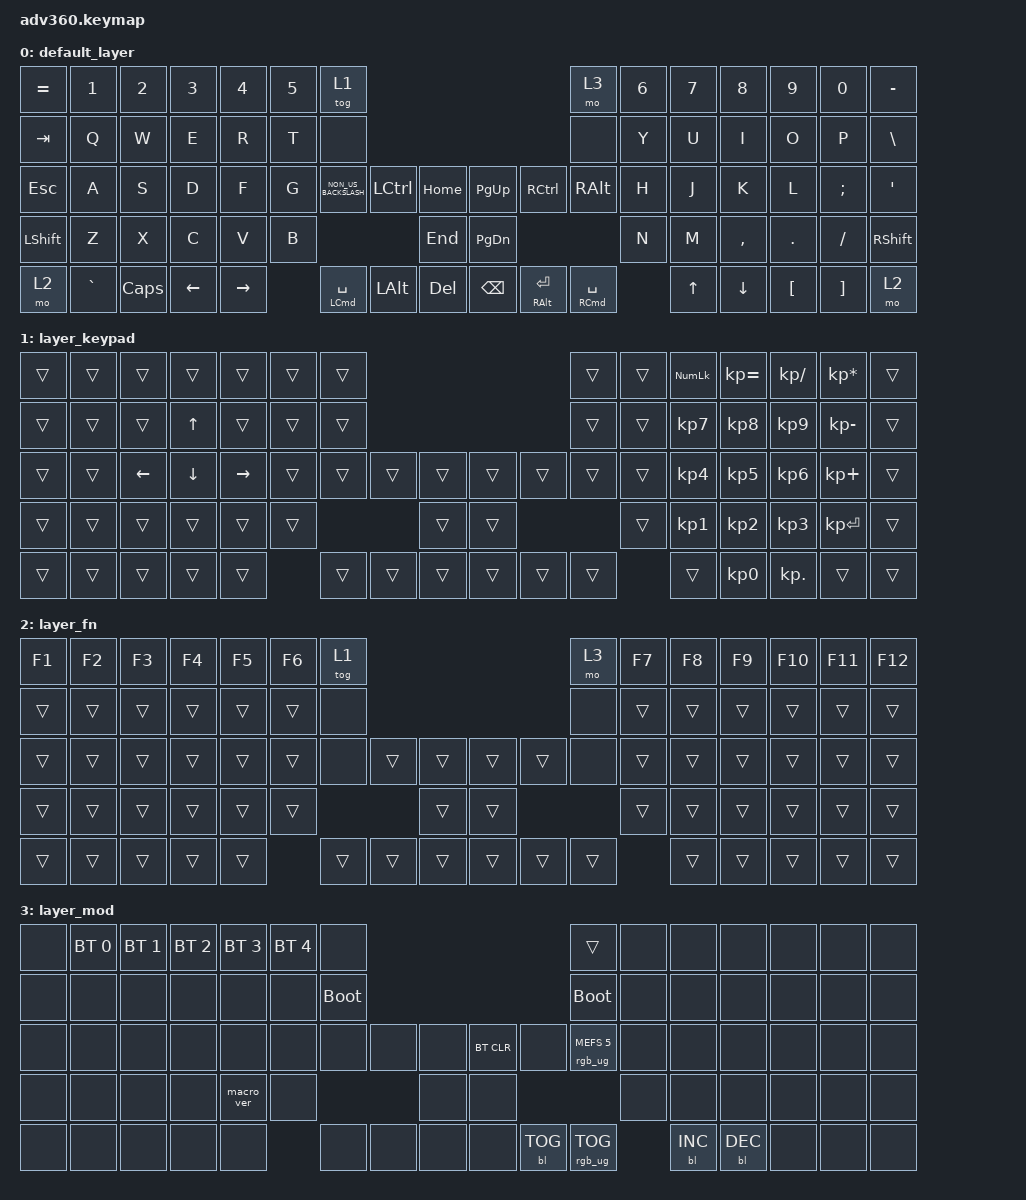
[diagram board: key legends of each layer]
/*
 * Copyright (c) 2020 The ZMK Contributors
 *
 * SPDX-License-Identifier: MIT
 */
/* THIS FILE WAS GENERATED!
 *
 * This file was generated automatically. You may or may not want to
 * edit it directly.
 */

#include <behaviors.dtsi>
#include <dt-bindings/zmk/backlight.h>
#include <dt-bindings/zmk/bt.h>
#include <dt-bindings/zmk/keys.h>
#include <dt-bindings/zmk/rgb.h>

/ {
    behaviors {
        #include "macros.dtsi"
    #include "version.dtsi"
    };

    keymap {
        compatible = "zmk,keymap";

        default_layer {
            bindings = <
&kp EQUAL  &kp N1     &kp N2    &kp N3    &kp N4     &kp N5  &tog 1                                                                                     &mo 3                    &kp N6  &kp N7  &kp N8     &kp N9    &kp N0    &kp MINUS
&kp TAB    &kp Q      &kp W     &kp E     &kp R      &kp T   &none                                                                                      &none                    &kp Y   &kp U   &kp I      &kp O     &kp P     &kp BSLH
&kp ESC    &kp A      &kp S     &kp D     &kp F      &kp G   &kp NON_US_BACKSLASH    &kp LCTRL     &kp HOME        &kp PG_UP      &kp RCTRL             &kp RIGHT_ALT            &kp H   &kp J   &kp K      &kp L     &kp SEMI  &kp SQT
&kp LSHFT  &kp Z      &kp X     &kp C     &kp V      &kp B                                         &kp END         &kp PAGE_DOWN                                                 &kp N   &kp M   &kp COMMA  &kp DOT   &kp FSLH  &kp RSHFT
&mo 2      &kp GRAVE  &kp CAPS  &kp LEFT  &kp RIGHT          &mt LEFT_COMMAND SPACE  &kp LEFT_ALT  &kp DELETE      &kp BACKSPACE  &mt RIGHT_ALT RETURN  &mt RIGHT_COMMAND SPACE          &kp UP  &kp DOWN   &kp LBKT  &kp RBKT  &mo 2
            >;
        };

        layer_keypad {
            bindings = <
&trans  &trans  &trans    &trans    &trans     &trans  &trans                                          &trans  &trans  &kp KP_NUM  &kp KP_EQUAL  &kp KP_DIVIDE  &kp KP_MULTIPLY  &trans
&trans  &trans  &trans    &kp UP    &trans     &trans  &trans                                          &trans  &trans  &kp KP_N7   &kp KP_N8     &kp KP_N9      &kp KP_MINUS     &trans
&trans  &trans  &kp LEFT  &kp DOWN  &kp RIGHT  &trans  &trans  &trans  &trans      &trans  &trans  &trans  &trans  &kp KP_N4   &kp KP_N5     &kp KP_N6      &kp KP_PLUS      &trans
&trans  &trans  &trans    &trans    &trans     &trans                  &trans      &trans                  &trans  &kp KP_N1   &kp KP_N2     &kp KP_N3      &kp KP_ENTER     &trans
&trans  &trans  &trans    &trans    &trans             &trans  &trans  &trans      &trans  &trans  &trans          &trans      &kp KP_N0     &kp KP_DOT     &trans           &trans
            >;
        };

        layer_fn {
            bindings = <
&kp F1  &kp F2  &kp F3  &kp F4  &kp F5  &kp F6  &tog 1                                      &mo 3   &kp F7  &kp F8  &kp F9  &kp F10  &kp F11  &kp F12
&trans  &trans  &trans  &trans  &trans  &trans  &none                                       &none   &trans  &trans  &trans  &trans   &trans   &trans
&trans  &trans  &trans  &trans  &trans  &trans  &none   &trans  &trans      &trans  &trans  &none   &trans  &trans  &trans  &trans   &trans   &trans
&trans  &trans  &trans  &trans  &trans  &trans                  &trans      &trans                  &trans  &trans  &trans  &trans   &trans   &trans
&trans  &trans  &trans  &trans  &trans          &trans  &trans  &trans      &trans  &trans  &trans          &trans  &trans  &trans   &trans   &trans
            >;
        };

        layer_mod {
            bindings = <
&none  &bt BT_SEL 0  &bt BT_SEL 1  &bt BT_SEL 2  &bt BT_SEL 3  &bt BT_SEL 4  &none                                                  &trans                  &none  &none       &none       &none  &none  &none
&none  &none         &none         &none         &none         &none         &bootloader                                            &bootloader             &none  &none       &none       &none  &none  &none
&none  &none         &none         &none         &none         &none         &none        &none  &none      &bt BT_CLR  &none       &rgb_ug RGB_MEFS_CMD 5  &none  &none       &none       &none  &none  &none
&none  &none         &none         &none         &macro_ver    &none                             &none      &none                                           &none  &none       &none       &none  &none  &none
&none  &none         &none         &none         &none                       &none        &none  &none      &none       &bl BL_TOG  &rgb_ug RGB_TOG                &bl BL_INC  &bl BL_DEC  &none  &none  &none
            >;
        };
    };
};
